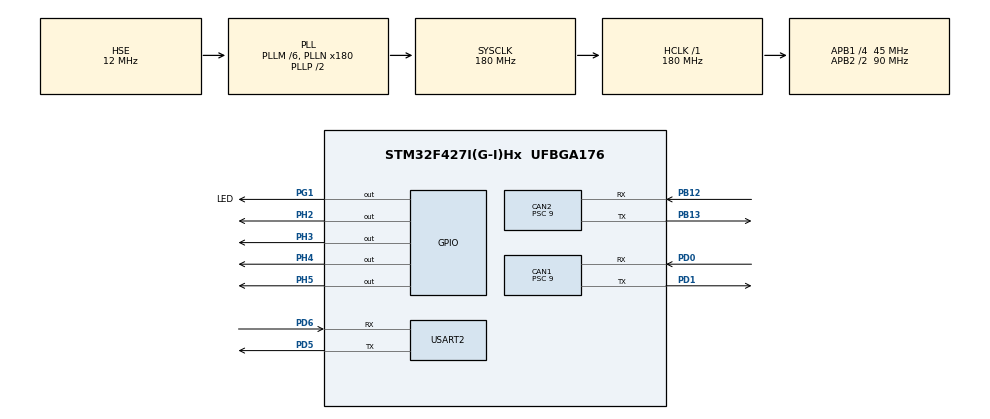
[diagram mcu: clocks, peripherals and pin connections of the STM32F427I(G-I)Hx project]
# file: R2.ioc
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CAN1.ABOM=ENABLE
CAN1.BS1=CAN_BS1_2TQ
CAN1.BS2=CAN_BS2_2TQ
CAN1.CalculateBaudRate=1000000
CAN1.CalculateTimeBit=1000
CAN1.CalculateTimeQuantum=200.0
CAN1.Prescaler=9
CAN2.ABOM=ENABLE
CAN2.BS1=CAN_BS1_2TQ
CAN2.BS2=CAN_BS2_2TQ
CAN2.CalculateBaudRate=1000000
CAN2.CalculateTimeBit=1000
CAN2.CalculateTimeQuantum=200.0
CAN2.Prescaler=9
Dma.Request0=USART2_RX
Dma.Request1=USART2_TX
Dma.USART2_RX.0.Direction=DMA_PERIPH_TO_MEMORY
Dma.USART2_RX.0.FIFOMode=DMA_FIFOMODE_DISABLE
Dma.USART2_RX.0.Instance=DMA1_Stream5
Dma.USART2_RX.0.MemDataAlignment=DMA_MDATAALIGN_BYTE
Dma.USART2_RX.0.MemInc=DMA_MINC_ENABLE
Dma.USART2_RX.0.Mode=DMA_NORMAL
Dma.USART2_RX.0.PeriphDataAlignment=DMA_PDATAALIGN_BYTE
Dma.USART2_RX.0.PeriphInc=DMA_PINC_DISABLE
Dma.USART2_RX.0.Priority=DMA_PRIORITY_LOW
Dma.USART2_TX.1.Direction=DMA_MEMORY_TO_PERIPH
Dma.USART2_TX.1.FIFOMode=DMA_FIFOMODE_DISABLE
Dma.USART2_TX.1.Instance=DMA1_Stream6
Dma.USART2_TX.1.MemDataAlignment=DMA_MDATAALIGN_BYTE
Dma.USART2_TX.1.MemInc=DMA_MINC_ENABLE
Dma.USART2_TX.1.Mode=DMA_NORMAL
Dma.USART2_TX.1.PeriphDataAlignment=DMA_PDATAALIGN_BYTE
Dma.USART2_TX.1.PeriphInc=DMA_PINC_DISABLE
Dma.USART2_TX.1.Priority=DMA_PRIORITY_LOW
Mcu.Family=STM32F4
Mcu.Name=STM32F427I(G-I)Hx
Mcu.Package=UFBGA176
NVIC.CAN1_RX0_IRQn=true\:0\:0\:false\:false\:true\:true\:true\:true
NVIC.CAN1_RX1_IRQn=true\:0\:0\:false\:false\:true\:true\:true\:true
NVIC.DMA1_Stream5_IRQn=true\:0\:0\:false\:false\:true\:false\:true\:true
NVIC.DMA1_Stream6_IRQn=true\:0\:0\:false\:false\:true\:false\:true\:true
NVIC.PriorityGroup=NVIC_PRIORITYGROUP_4
NVIC.USART2_IRQn=true\:0\:0\:false\:false\:true\:true\:true\:true
PA13.Mode=Serial_Wire
PA13.Signal=SYS_JTMS-SWDIO
PA14.Mode=Serial_Wire
PA14.Signal=SYS_JTCK-SWCLK
PB12.Mode=CAN_Activate
PB12.Signal=CAN2_RX
PB13.Mode=CAN_Activate
PB13.Signal=CAN2_TX
PD0.Mode=CAN_Activate
PD0.Signal=CAN1_RX
PD1.Mode=CAN_Activate
PD1.Signal=CAN1_TX
PD5.Mode=Asynchronous
PD5.Signal=USART2_TX
PD6.Mode=Asynchronous
PD6.Signal=USART2_RX
PG1.GPIO_Label=LED
PG1.GPIO_PuPd=GPIO_PULLUP
PG1.Signal=GPIO_Output
PH0/OSC_IN.Mode=HSE-External-Oscillator
PH0/OSC_IN.Signal=RCC_OSC_IN
PH1/OSC_OUT.Mode=HSE-External-Oscillator
PH1/OSC_OUT.Signal=RCC_OSC_OUT
PH2.GPIO_PuPd=GPIO_PULLDOWN
PH2.Signal=GPIO_Output
PH3.GPIO_PuPd=GPIO_PULLDOWN
PH3.Signal=GPIO_Output
PH4.GPIO_PuPd=GPIO_PULLDOWN
PH4.Signal=GPIO_Output
PH5.GPIO_PuPd=GPIO_PULLDOWN
PH5.Signal=GPIO_Output
ProjectManager.HeapSize=0x200
ProjectManager.StackSize=0x400
ProjectManager.TargetToolchain=MDK-ARM V5.32
RCC.48MHZClocksFreq_Value=90000000
RCC.AHBFreq_Value=180000000
RCC.APB1CLKDivider=RCC_HCLK_DIV4
RCC.APB1Freq_Value=45000000
RCC.APB1TimFreq_Value=90000000
RCC.APB2CLKDivider=RCC_HCLK_DIV2
RCC.APB2Freq_Value=90000000
RCC.APB2TimFreq_Value=180000000
RCC.CortexFreq_Value=180000000
RCC.HCLKFreq_Value=180000000
RCC.HSE_VALUE=12000000
RCC.HSI_VALUE=16000000
RCC.LSE_VALUE=32768
RCC.PLLM=6
RCC.PLLN=180
RCC.PLLSourceVirtual=RCC_PLLSOURCE_HSE
RCC.SYSCLKFreq_VALUE=180000000
RCC.SYSCLKSource=RCC_SYSCLKSOURCE_PLLCLK
RCC.VCOOutputFreq_Value=360000000
STMicroelectronics.X-CUBE-ALGOBUILD.1.4.0.LibraryCcDSPOoLibraryJjDSPOoLibrary=true
USART2.VirtualMode=VM_ASYNC
VP_STMicroelectronics.X-CUBE-ALGOBUILD_VS_DSPOoLibraryJjLibrary_1.4.0_1.4.0.Mode=DSPOoLibraryJjLibrary
board=custom

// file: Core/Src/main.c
/* USER CODE BEGIN Header */
/**
 ******************************************************************************
 * @file           : main.c
 * @brief          : Main program body
 ******************************************************************************
 * @attention
 *
 * Copyright (c) 2026 STMicroelectronics.
 * All rights reserved.
 *
 * This software is licensed under terms that can be found in the LICENSE file
 * in the root directory of this software component.
 * If no LICENSE file comes with this software, it is provided AS-IS.
 *
 ******************************************************************************
 */
/* USER CODE END Header */
#include "main.h"
#include "can.h"
#include "dma.h"
#include "usart.h"
#include "gpio.h"

/* USER CODE BEGIN Includes */
#include "1_Middleware/1_Driver/BSP/drv_djiboarda.h"
#include "1_Middleware/1_Driver/CAN/drv_can.h"
#include "1_Middleware/1_Driver/UART/drv_uart.h"
#include "2_Device/Serialplot/dvc_serialplot.h"
#include "1_Middleware/2_Algorithm/PID/alg_pid.h"
#include "2_Device/Motor/Motor_DJI/dvc_motor_dji.h"

/* USER CODE END Includes */

/* USER CODE BEGIN PTD */
// Class_Serialplot Serialplot;

/* USER CODE END PTD */

/* USER CODE BEGIN PV */
Class_Serialplot serialplot;
Class_Motor_DJI_C620 motor;

float Target_Angle, Now_Angle, Target_Omega, Now_Omega;

uint32_t Counter = 0;

static char Variable_Assignment_List[][SERIALPLOT_RX_VARIABLE_ASSIGNMENT_MAX_LENGTH] = {
    // 电机调PID
    "pa",
    "ia",
    "da",
    "po",
    "io",
    "do",
};
/* USER CODE END PV */

void SystemClock_Config(void);

/* USER CODE BEGIN 0 */

/**
 * @brief CAN报文回调函数
 *
 * @param Rx_Buffer CAN接收的信息结构体
 */
void CAN_Motor_Call_Back(Struct_CAN_Rx_Buffer *Rx_Buffer)
{
  switch (Rx_Buffer->Header.StdId)
  {
  case (0x201):
  {
    motor.CAN_RxCpltCallback(Rx_Buffer->Data);
  }
  break;
  }
}

/**
 * @brief HAL库UART接收DMA空闲中断
 *
 * @param huart UART编号
 * @param Size 长度
 */
void UART_Serialplot_Call_Back(uint8_t *Buffer, uint16_t Length)
{
  serialplot.UART_RxCpltCallback(Buffer, Length);
  switch (serialplot.Get_Variable_Index())
  {
  // 电机调PID
  case (0):
  {
    motor.PID_Angle.Set_K_P(serialplot.Get_Variable_Value());
  }
  break;
  case (1):
  {
    motor.PID_Angle.Set_K_I(serialplot.Get_Variable_Value());
  }
  break;
  case (2):
  {
    motor.PID_Angle.Set_K_D(serialplot.Get_Variable_Value());
  }
  break;
  case (3):
  {
    motor.PID_Omega.Set_K_P(serialplot.Get_Variable_Value());
  }
  break;
  case (4):
  {
    motor.PID_Omega.Set_K_I(serialplot.Get_Variable_Value());
  }
  break;
  case (5):
  {
    motor.PID_Omega.Set_K_D(serialplot.Get_Variable_Value());
  }
  break;
  }
}

/* USER CODE END 0 */

int main(void)
{

  /* MCU Configuration--------------------------------------------------------*/

  /* Reset of all peripherals, Initializes the Flash interface and the Systick. */
  HAL_Init();

  /* USER CODE BEGIN Init */

  // UART_Init(&huart2, NULL, 0);
  // Serialplot.Init(&huart2, Serialplot_Checksum_8_ENABLE, 0, NULL, Serialplot_Data_Type_FLOAT);

  /* USER CODE END Init */

  /* Configure the system clock */
  SystemClock_Config();

  /* Initialize all configured peripherals */
  MX_GPIO_Init();
  MX_DMA_Init();
  MX_CAN1_Init();
  MX_USART2_UART_Init();
  MX_CAN2_Init();
  /* USER CODE BEGIN 2 */

  BSP_Init(BSP_DC24_LU_ON | BSP_DC24_LD_ON | BSP_DC24_RU_ON | BSP_DC24_RD_ON);
  CAN_Init(&hcan1, CAN_Motor_Call_Back);
  UART_Init(&huart2, UART_Serialplot_Call_Back, SERIALPLOT_RX_VARIABLE_ASSIGNMENT_MAX_LENGTH);
  serialplot.Init(&huart2, Serialplot_Checksum_8_DISABLE, 6, (char **)Variable_Assignment_List);
  motor.PID_Angle.Init(0.0f, 0.0f, 0.0f, 0.0f, 15.0f * PI, 15.0f * PI);
  motor.PID_Omega.Init(0.0f, 0.0f, 0.0f, 0.0f, 2500.0f, 2500.0f);
  motor.Init(&hcan1, Motor_DJI_ID_0x201, Motor_DJI_Control_Method_ANGLE, 1.0f);
  /* USER CODE END 2 */

  /* Infinite loop */
  /* USER CODE BEGIN WHILE */
  while (1)
  {
    Counter++;
    if (Counter >= 20000)
    {
      Counter = 0;
      if (motor.Get_Target_Angle() == 4.0f * PI)
      {
        motor.Set_Target_Angle(0.0f);
      }
      else if (motor.Get_Target_Angle() == 0.0f)
      {
        motor.Set_Target_Angle(4.0f * PI);
      }
    }

    // 串口绘图显示内容

    Target_Angle = motor.Get_Target_Angle();
    Now_Angle = motor.Get_Now_Angle();
    Target_Omega = motor.Get_Target_Omega();
    Now_Omega = motor.Get_Now_Omega();
    serialplot.Set_Data(4, &Target_Angle, &Now_Angle, &Target_Omega, &Now_Omega);
    serialplot.JustFloat_Output();

    // 输出数据到电机
    motor.TIM_Calculate_PeriodElapsedCallback();

    // 通信设备回调数据
    TIM_1ms_CAN_PeriodElapsedCallback();
    TIM_1ms_UART_PeriodElapsedCallback();

    // 延时1ms
    HAL_Delay(0);

    /* USER CODE END WHILE */

  }
}

void SystemClock_Config(void)
{
  RCC_OscInitTypeDef RCC_OscInitStruct = {0};
  RCC_ClkInitTypeDef RCC_ClkInitStruct = {0};

  /** Configure the main internal regulator output voltage
  */
  __HAL_RCC_PWR_CLK_ENABLE();
  __HAL_PWR_VOLTAGESCALING_CONFIG(PWR_REGULATOR_VOLTAGE_SCALE1);

  /** Initializes the RCC Oscillators according to the specified parameters
  * in the RCC_OscInitTypeDef structure.
  */
  RCC_OscInitStruct.OscillatorType = RCC_OSCILLATORTYPE_HSE;
  RCC_OscInitStruct.HSEState = RCC_HSE_ON;
  RCC_OscInitStruct.PLL.PLLState = RCC_PLL_ON;
  RCC_OscInitStruct.PLL.PLLSource = RCC_PLLSOURCE_HSE;
  RCC_OscInitStruct.PLL.PLLM = 6;
  RCC_OscInitStruct.PLL.PLLN = 180;
  RCC_OscInitStruct.PLL.PLLP = RCC_PLLP_DIV2;
  RCC_OscInitStruct.PLL.PLLQ = 4;
  if (HAL_RCC_OscConfig(&RCC_OscInitStruct) != HAL_OK)
  {
    Error_Handler();
  }

  /** Activate the Over-Drive mode
  */
  if (HAL_PWREx_EnableOverDrive() != HAL_OK)
  {
    Error_Handler();
  }

  /** Initializes the CPU, AHB and APB buses clocks
  */
  RCC_ClkInitStruct.ClockType = RCC_CLOCKTYPE_HCLK|RCC_CLOCKTYPE_SYSCLK
                              |RCC_CLOCKTYPE_PCLK1|RCC_CLOCKTYPE_PCLK2;
  RCC_ClkInitStruct.SYSCLKSource = RCC_SYSCLKSOURCE_PLLCLK;
  RCC_ClkInitStruct.AHBCLKDivider = RCC_SYSCLK_DIV1;
  RCC_ClkInitStruct.APB1CLKDivider = RCC_HCLK_DIV4;
  RCC_ClkInitStruct.APB2CLKDivider = RCC_HCLK_DIV2;

  if (HAL_RCC_ClockConfig(&RCC_ClkInitStruct, FLASH_LATENCY_5) != HAL_OK)
  {
    Error_Handler();
  }
}

void Error_Handler(void)
{
  __disable_irq();
  while (1)
  {
  }
}
